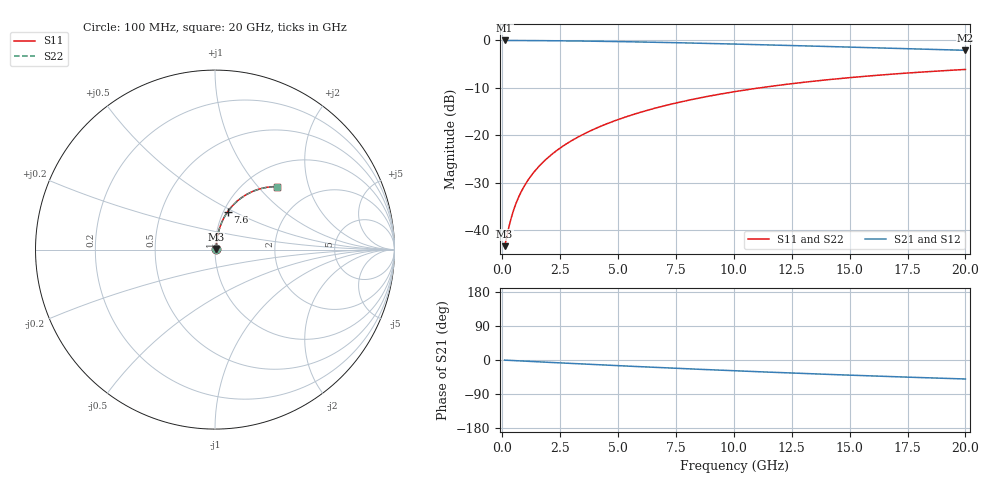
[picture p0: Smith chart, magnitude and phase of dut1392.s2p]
! Touchstone file exported from HFSS 2024.1.0
!  File:  C:/UserFiles/LocalFiles/RDL_TSV_Batchsim/temp_RDL_bottom_1392_1780372120.aedt
!  Generated:  11:51:14 AM Jun  2, 2026
!  Design:  RDL_bottom
!  Project:  temp_RDL_bottom_1392_1780372120
!  Setup:  Setup1
!  Solution:  Sweep
! Variables:
!  dtsv = 10.80580581um
!  hbump = 3um
!  htsv = 56.59um
!  ldown = 679.15um
!  lrdl = 100um
!  p = 40
!  p1 = 51.42um
!  rhole = 1um
!  t = 450um
!  tdown = 2.39um
!  trdl = 3.915915916um
!  wdown = 17um
!  wrdl = 20um
# GHz S MA R 50.000000
! Terminal data exported
! Port[1] = RDL1_T1
! Port[2] = RDL1_T2
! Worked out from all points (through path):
!   200 points, 100 MHz to 20 GHz, reference 50 ohm
!   highest |S21| = -0.05 dB at 100 MHz (marker M1); lowest = -2.1 dB at 20 GHz (marker M2)
!   group delay of S21, straight-line fit = 6.95 ps
!   lowest |S11| = -43.3 dB at 100 MHz (marker M3), VSWR 1.01, Z = 50.6 + j0.315 ohm
!   |S11| at or under -10 dB: start of sweep to 11.15 GHz
!   |S22| runs from -43.3 to -6.2 dB; largest |S21 - S12| = 4.8e-15
!   S11 on the Smith chart (normalised r, x): 100 MHz: 1.01, +0.01; 7.6 GHz: 1.05, +0.46; 20 GHz: 1.37, +1.27
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0.1  0.006832 27.1  0.9939 -0.3  0.9939 -0.3  0.006832 27.1
! Gamma 0 0 0 0
! Port Impedance 50 0 50 0
0.3  0.01124 55.4  0.9936 -1.0  0.9936 -1.0  0.01124 55.4
0.4  0.01392 61.6  0.9934 -1.3  0.9934 -1.3  0.01392 61.6
0.5  0.01667 65.7  0.9931 -1.6  0.9931 -1.6  0.01667 65.7
0.6  0.01945 68.5  0.9928 -1.9  0.9928 -1.9  0.01945 68.5
0.7  0.02225 70.6  0.9926 -2.2  0.9926 -2.2  0.02225 70.6
0.9  0.02785 73.5  0.992 -2.8  0.992 -2.8  0.02785 73.5
1.2  0.0363 76.0  0.9911 -3.7  0.9911 -3.7  0.0363 76.0
1.4  0.04196 77.1  0.9904 -4.3  0.9904 -4.3  0.04196 77.1
1.7  0.05051 78.1  0.9893 -5.2  0.9893 -5.2  0.05051 78.1
2.2  0.06485 79.0  0.9872 -6.7  0.9872 -6.7  0.06485 79.0
2.8  0.0822 79.1  0.984 -8.5  0.984 -8.5  0.08219 79.1
3.5  0.1026 78.7  0.9795 -10.6  0.9795 -10.6  0.1026 78.7
4.2  0.123 77.9  0.9743 -12.6  0.9743 -12.6  0.123 77.9
5  0.1464 76.7  0.9675 -14.9  0.9675 -14.9  0.1464 76.7
5.9  0.1727 75.1  0.9589 -17.5  0.9589 -17.5  0.1726 75.0
6.8  0.1987 73.3  0.9495 -20.0  0.9495 -20.0  0.1986 73.3
7.6  0.2214 71.6  0.9406 -22.1  0.9406 -22.1  0.2213 71.6
10.1  0.2895 66.1  0.9102 -28.6  0.9102 -28.6  0.2893 66.0
13.4  0.3696 58.7  0.8673 -36.4  0.8673 -36.4  0.3694 58.7
16.7  0.4372 51.8  0.8242 -43.6  0.8242 -43.6  0.4369 51.7
20  0.4927 45.5  0.7831 -50.1  0.7831 -50.1  0.4923 45.4
